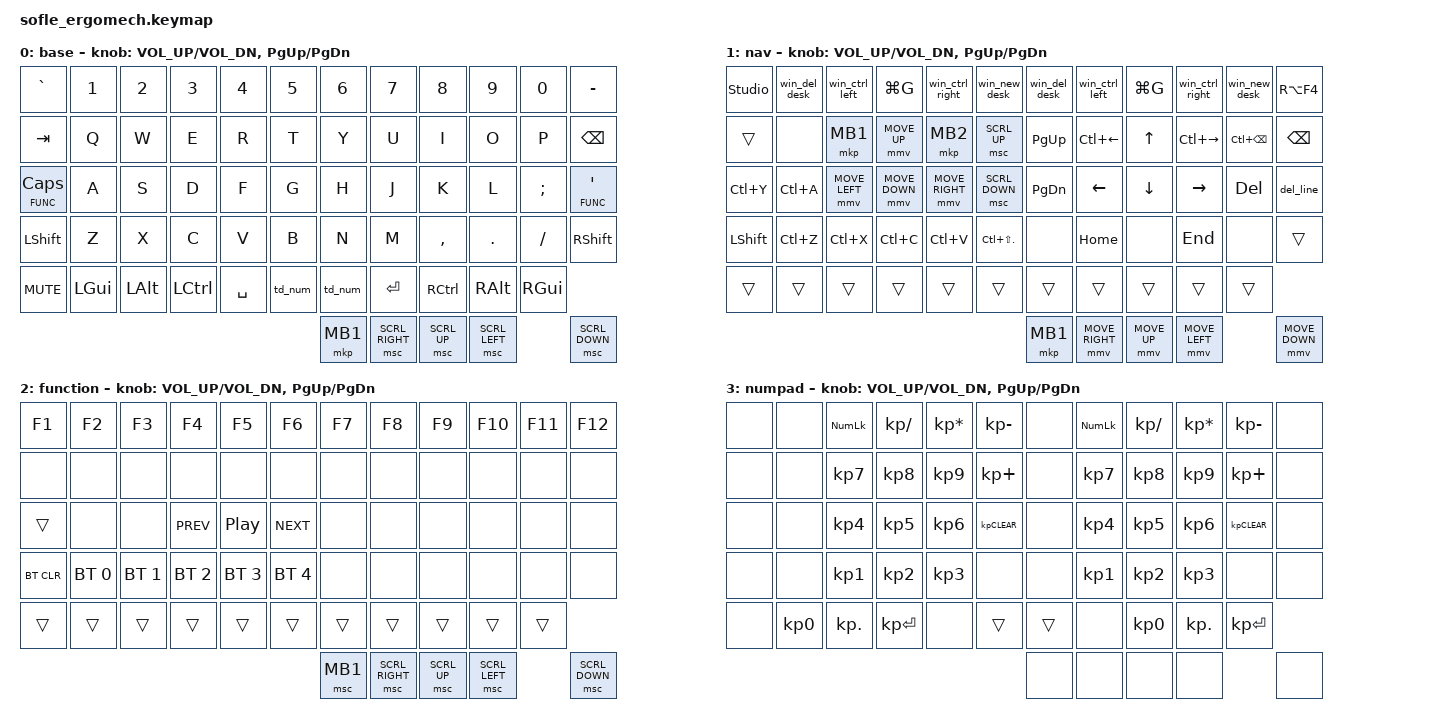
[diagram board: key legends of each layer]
/*
 * Copyright (c) 2020 The ZMK Contributors
 *
 * SPDX-License-Identifier: MIT
 */

#define ZMK_POINTING_DEFAULT_SCRL_VAL 30    // default: 10
#define ZMK_POINTING_DEFAULT_MOVE_VAL 1600  // default: 600

#include <behaviors.dtsi>
#include <dt-bindings/zmk/bt.h>
#include <dt-bindings/zmk/ext_power.h>
#include <dt-bindings/zmk/keys.h>
#include <dt-bindings/zmk/rgb.h>
#include <dt-bindings/zmk/pointing.h>

#define BASE 0
#define NAV 1
#define FUNC 2
#define NUMP 3

/ {
    // Activate ADJUST layer by pressing raise and lower

    //conditional_layers {
    //    compatible = "zmk,conditional-layers";
    //
    //    adjust_layer {
    //        if-layers = <LOWER RAISE>;
    //        then-layer = <ADJUST>;
    //    };
    //};

    behaviors {
        MouseScroll: MouseScroll {
            compatible = "zmk,behavior-sensor-rotate";
            label = "MOUSESCROLL";
            #sensor-binding-cells = <0>;
            bindings = <&msc SCRL_DOWN>, <&msc SCRL_UP>;

            tap-ms = <20>;
        };

        #include "macros.dtsi"

        td_num: tap_dance_num {
            compatible = "zmk,behavior-tap-dance";
            #binding-cells = <0>;
            tapping-term-ms = <150>;
            bindings = <&mo NAV &mo NUMP>;
        };
    };

    combos {
        compatible = "zmk,combos";
        
        combo_esc {
            timeout-ms = <50>;
            key-positions = <0 1>;
            bindings = <&kp ESC>;
            layers = <0>;
        };
        
        combo_equal {
            timeout-ms = <50>;
            key-positions = <31 32>;
            bindings = <&kp EQUAL>;
            layers = <0>;
        };
        
        combo_left_brace {
            timeout-ms = <50>;
            key-positions = <39 40>;  
            bindings = <&kp LBRC>;
            layers = <0>;
        };
        
        combo_right_brace {
            timeout-ms = <50>;
            key-positions = <40 41>;
            bindings = <&kp RBRC>;
            layers = <0>;
        };
        
        combo_left_bracket {
            timeout-ms = <50>;
            key-positions = <27 28>;
            bindings = <&kp LBKT>;
            layers = <0>;
        };
        
        combo_right_bracket {
            timeout-ms = <50>;
            key-positions = <28 29>;
            bindings = <&kp RBKT>;
            layers = <0>;
        };
        
        combo_backslash {
            timeout-ms = <50>;
            key-positions = <43 44>;
            bindings = <&kp BSLH>;
            layers = <0>;
        };
    };

    keymap {
        compatible = "zmk,keymap";

        base_layer {
            label = "base";

            // ------------------------------------------------------------------------------------------------------------
            // |   `   |  1  |  2  |  3   |  4   |  5   |                   |  6   |  7    |  8    |  9   |   0   |   -   |
            // |  TAB  |  Q  |  W  |  E   |  R   |  T   |                   |  Y   |  U    |  I    |  O   |   P   | BKSPC |
            // |  CAPS |  A  |  S  |  D   |  F   |  G   |                   |  H   |  J    |  K    |  L   |   ;   |   '   |
            // | SHIFT |  Z  |  X  |  C   |  V   |  B   |  MUTE  |  |       |  N   |  M    |  ,    |  .   |   /   | SHIFT |
            //               | GUI | ALT  | CTRL | SPACE|  NAV   |  |  NAV  | ENTER| CTRL  | ALT   | GUI  |

            bindings = <
&kp GRAVE      &kp N1    &kp N2    &kp N3     &kp N4     &kp N5        &kp N6     &kp N7     &kp N8        &kp N9    &kp N0    &kp MINUS
&kp TAB        &kp Q     &kp W     &kp E      &kp R      &kp T         &kp Y      &kp U      &kp I         &kp O     &kp P     &kp BSPC
&lt FUNC CAPS  &kp A     &kp S     &kp D      &kp F      &kp G         &kp H      &kp J      &kp K         &kp L     &kp SEMI  &lt FUNC SQT
&kp LSHFT      &kp Z     &kp X     &kp C      &kp V      &kp B         &kp N      &kp M      &kp COMMA     &kp DOT   &kp FSLH  &kp RSHFT
&kp C_MUTE     &kp LGUI  &kp LALT  &kp LCTRL  &kp SPACE  &td_num       &td_num    &kp RET    &kp RCTRL     &kp RALT  &kp RGUI
                                                                    &mkp MB1  &msc SCRL_RIGHT  &msc SCRL_UP  &msc SCRL_LEFT  &msc SCRL_DOWN
            >;

            sensor-bindings = <&inc_dec_kp C_VOL_UP C_VOL_DN &inc_dec_kp PG_UP PG_DN>;
        };

        nav_layer {
            label = "nav";

            bindings = <
&studio_unlock  &win_del_desk  &win_ctrl_left  &kp LG(G)        &win_ctrl_right  &win_new_desk        &win_del_desk  &win_ctrl_left  &kp LG(G)  &win_ctrl_right  &win_new_desk   &kp RA(F4)
&trans          &none          &mkp MB1        &mmv MOVE_UP     &mkp MB2         &msc SCRL_UP         &kp PG_UP      &kp LC(LEFT)    &kp UP     &kp LC(RIGHT)    &kp LC(BSPC)    &kp BSPC
&kp LC(Y)       &kp LC(A)      &mmv MOVE_LEFT  &mmv MOVE_DOWN   &mmv MOVE_RIGHT  &msc SCRL_DOWN       &kp PG_DN      &kp LEFT        &kp DOWN   &kp RIGHT        &kp DEL         &del_line
&kp LSHFT       &kp LC(Z)      &kp LC(X)       &kp LC(C)        &kp LC(V)        &kp LC(LS(DOT))      &none          &kp HOME        &none      &kp END          &none           &trans
&trans          &trans         &trans          &trans           &trans           &trans               &trans         &trans          &trans     &trans           &trans
                                                                                                &mkp MB1      &mmv MOVE_RIGHT     &mmv MOVE_UP      &mmv MOVE_LEFT      &mmv MOVE_DOWN
            >;

            sensor-bindings = <&inc_dec_kp C_VOL_UP C_VOL_DN &inc_dec_kp PG_UP PG_DN>;
        };

        function_layer {
            label = "function";

            bindings = <
&kp F1      &kp F2        &kp F3        &kp F4        &kp F5            &kp F6             &kp F7   &kp F8   &kp F9   &kp F10    &kp F11  &kp F12
&none       &none         &none         &none         &none             &none              &none    &none    &none    &none      &none    &none
&trans      &none         &none         &kp C_PREV    &kp C_PLAY_PAUSE  &kp C_NEXT         &none    &none    &none    &none      &none    &none
&bt BT_CLR  &bt BT_SEL 0  &bt BT_SEL 1  &bt BT_SEL 2  &bt BT_SEL 3      &bt BT_SEL 4       &none    &none    &none    &none      &none    &none
&trans      &trans        &trans        &trans        &trans            &trans             &trans    &trans    &trans    &trans      &trans
                                                                                        &msc MB1  &msc SCRL_RIGHT  &msc SCRL_UP  &msc SCRL_LEFT  &msc SCRL_DOWN
            >;

            sensor-bindings = <&inc_dec_kp C_VOL_UP C_VOL_DN &inc_dec_kp PG_UP PG_DN>;
        };

        numpad_layer {
            label = "numpad";

            bindings = <
&none       &none         &kp KP_NUM    &kp KP_DIVIDE  &kp KP_MULTIPLY  &kp KP_MINUS       &none    &kp KP_NUM    &kp KP_DIVIDE  &kp KP_MULTIPLY  &kp KP_MINUS  &none
&none       &none         &kp KP_N7     &kp KP_N8      &kp KP_N9        &kp KP_PLUS        &none    &kp KP_N7     &kp KP_N8      &kp KP_N9        &kp KP_PLUS   &none
&none       &none         &kp KP_N4     &kp KP_N5      &kp KP_N6        &kp KP_CLEAR       &none    &kp KP_N4     &kp KP_N5      &kp KP_N6        &kp KP_CLEAR  &none
&none       &none         &kp KP_N1     &kp KP_N2      &kp KP_N3        &none              &none    &kp KP_N1     &kp KP_N2      &kp KP_N3        &none         &none
&none       &kp KP_N0     &kp KP_DOT    &kp KP_ENTER   &none            &trans             &trans   &none         &kp KP_N0      &kp KP_DOT       &kp KP_ENTER
                                                                                        &none &none  &none  &none  &none
            >;

            sensor-bindings = <&inc_dec_kp C_VOL_UP C_VOL_DN &inc_dec_kp PG_UP PG_DN>;
        };
    };
};
